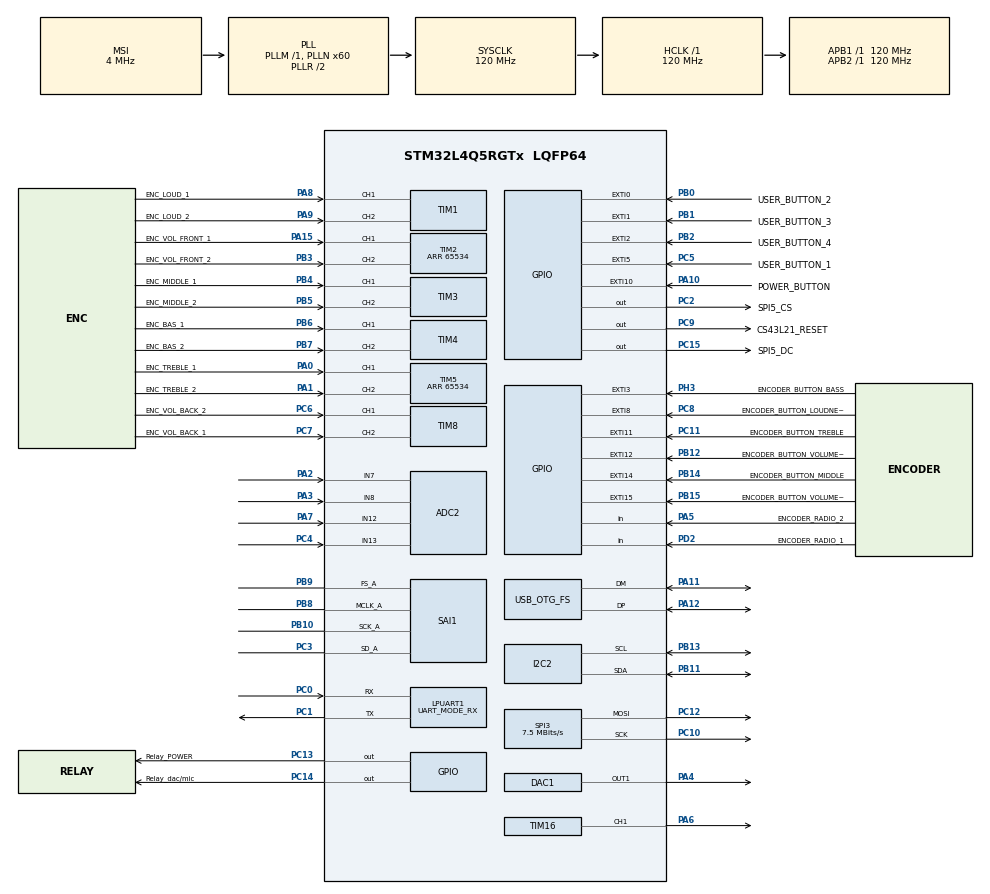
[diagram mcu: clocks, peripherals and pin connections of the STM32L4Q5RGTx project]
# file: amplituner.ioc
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ADC1.Channel-4\#ChannelRegularConversion=ADC_CHANNEL_VBAT
ADC1.NbrOfConversionFlag=1
ADC1.OffsetNumber-4\#ChannelRegularConversion=ADC_OFFSET_NONE
ADC1.Rank-4\#ChannelRegularConversion=1
ADC1.SamplingTime-4\#ChannelRegularConversion=ADC_SAMPLETIME_2CYCLES_5
ADC1.master=1
ADC2.Channel-0\#ChannelRegularConversion=ADC_CHANNEL_7
ADC2.Channel-1\#ChannelRegularConversion=ADC_CHANNEL_8
ADC2.Channel-2\#ChannelRegularConversion=ADC_CHANNEL_12
ADC2.Channel-3\#ChannelRegularConversion=ADC_CHANNEL_13
ADC2.ClockPrescaler=ADC_CLOCK_ASYNC_DIV1
ADC2.DMAContinuousRequests=ENABLE
ADC2.ExternalTrigConv=ADC_EXTERNALTRIG_T6_TRGO
ADC2.NbrOfConversion=4
ADC2.NbrOfConversionFlag=1
ADC2.OffsetNumber-0\#ChannelRegularConversion=ADC_OFFSET_NONE
ADC2.OffsetNumber-1\#ChannelRegularConversion=ADC_OFFSET_NONE
ADC2.OffsetNumber-2\#ChannelRegularConversion=ADC_OFFSET_NONE
ADC2.OffsetNumber-3\#ChannelRegularConversion=ADC_OFFSET_NONE
ADC2.Rank-0\#ChannelRegularConversion=1
ADC2.Rank-1\#ChannelRegularConversion=2
ADC2.Rank-2\#ChannelRegularConversion=3
ADC2.Rank-3\#ChannelRegularConversion=4
ADC2.SamplingTime-0\#ChannelRegularConversion=ADC_SAMPLETIME_12CYCLES_5
ADC2.SamplingTime-1\#ChannelRegularConversion=ADC_SAMPLETIME_12CYCLES_5
ADC2.SamplingTime-2\#ChannelRegularConversion=ADC_SAMPLETIME_12CYCLES_5
ADC2.SamplingTime-3\#ChannelRegularConversion=ADC_SAMPLETIME_12CYCLES_5
Dma.ADC2.0.Direction=DMA_PERIPH_TO_MEMORY
Dma.ADC2.0.EventEnable=DISABLE
Dma.ADC2.0.Instance=DMA1_Channel3
Dma.ADC2.0.MemDataAlignment=DMA_MDATAALIGN_HALFWORD
Dma.ADC2.0.MemInc=DMA_MINC_ENABLE
Dma.ADC2.0.Mode=DMA_CIRCULAR
Dma.ADC2.0.PeriphDataAlignment=DMA_PDATAALIGN_HALFWORD
Dma.ADC2.0.PeriphInc=DMA_PINC_DISABLE
Dma.ADC2.0.Polarity=HAL_DMAMUX_REQ_GEN_RISING
Dma.ADC2.0.Priority=DMA_PRIORITY_LOW
Dma.ADC2.0.RequestNumber=1
Dma.ADC2.0.SignalID=NONE
Dma.ADC2.0.SyncEnable=DISABLE
Dma.ADC2.0.SyncPolarity=HAL_DMAMUX_SYNC_NO_EVENT
Dma.ADC2.0.SyncRequestNumber=1
Dma.ADC2.0.SyncSignalID=NONE
Dma.Request0=ADC2
Dma.Request1=SPI3_TX
Dma.SPI3_TX.1.Direction=DMA_MEMORY_TO_PERIPH
Dma.SPI3_TX.1.EventEnable=DISABLE
Dma.SPI3_TX.1.Instance=DMA1_Channel1
Dma.SPI3_TX.1.MemDataAlignment=DMA_MDATAALIGN_BYTE
Dma.SPI3_TX.1.MemInc=DMA_MINC_ENABLE
Dma.SPI3_TX.1.Mode=DMA_NORMAL
Dma.SPI3_TX.1.PeriphDataAlignment=DMA_PDATAALIGN_BYTE
Dma.SPI3_TX.1.PeriphInc=DMA_PINC_DISABLE
Dma.SPI3_TX.1.Polarity=HAL_DMAMUX_REQ_GEN_RISING
Dma.SPI3_TX.1.Priority=DMA_PRIORITY_LOW
Dma.SPI3_TX.1.RequestNumber=1
Dma.SPI3_TX.1.SignalID=NONE
Dma.SPI3_TX.1.SyncEnable=DISABLE
Dma.SPI3_TX.1.SyncPolarity=HAL_DMAMUX_SYNC_NO_EVENT
Dma.SPI3_TX.1.SyncRequestNumber=1
Dma.SPI3_TX.1.SyncSignalID=NONE
I2C2.Timing=0x307075B1
LPUART1.Mode=UART_MODE_RX
LPUART1.SwapParam=UART_ADVFEATURE_SWAP_ENABLE
Mcu.Family=STM32L4
Mcu.Name=STM32L4Q5RGTx
Mcu.Package=LQFP64
NVIC.ADC1_2_IRQn=true\:1\:0\:true\:true\:true\:6\:true\:true
NVIC.DMA1_Channel1_IRQn=true\:1\:0\:true\:true\:true\:4\:false\:true
NVIC.DMA1_Channel3_IRQn=true\:1\:0\:true\:true\:true\:5\:false\:true
NVIC.EXTI0_IRQn=true\:5\:0\:true\:true\:true\:1\:true\:true
NVIC.EXTI15_10_IRQn=true\:5\:0\:true\:true\:true\:15\:true\:true
NVIC.EXTI1_IRQn=true\:5\:0\:true\:true\:true\:2\:true\:true
NVIC.EXTI2_IRQn=true\:5\:0\:true\:true\:true\:3\:true\:true
NVIC.EXTI9_5_IRQn=true\:5\:0\:true\:true\:true\:7\:true\:true
NVIC.PriorityGroup=NVIC_PRIORITYGROUP_4
NVIC.RTC_Alarm_IRQn=true\:5\:0\:true\:true\:true\:16\:true\:true
NVIC.SPI3_IRQn=true\:1\:0\:true\:true\:true\:19\:true\:true
NVIC.TIM1_BRK_TIM15_IRQn=true\:3\:0\:true\:true\:true\:8\:true\:true
NVIC.TIM1_TRG_COM_TIM17_IRQn=true\:3\:0\:true\:true\:true\:10\:true\:true
NVIC.TIM1_UP_TIM16_IRQn=true\:3\:0\:true\:true\:true\:9\:true\:true
NVIC.TIM2_IRQn=true\:3\:0\:true\:true\:true\:12\:true\:true
NVIC.TIM3_IRQn=true\:3\:0\:true\:true\:true\:13\:true\:true
NVIC.TIM4_IRQn=true\:3\:0\:true\:true\:true\:14\:true\:true
NVIC.TIM5_IRQn=true\:3\:0\:true\:true\:true\:18\:true\:true
NVIC.TIM6_DAC_IRQn=true\:0\:0\:false\:true\:true\:20\:true\:true
NVIC.TIM8_CC_IRQn=true\:3\:0\:true\:true\:true\:17\:true\:true
PA0.GPIO_Label=ENC_TREBLE_1
PA0.Signal=S_TIM5_CH1
PA1.GPIO_Label=ENC_TREBLE_2
PA1.Signal=S_TIM5_CH2
PA10.GPIO_Label=POWER_BUTTON
PA10.Signal=GPXTI10
PA11.Mode=Host_Only
PA11.Signal=USB_OTG_FS_DM
PA12.Mode=Host_Only
PA12.Signal=USB_OTG_FS_DP
PA13\ (JTMS/SWDIO).Mode=Serial_Wire
PA13\ (JTMS/SWDIO).Signal=SYS_JTMS-SWDIO
PA14\ (JTCK/SWCLK).Mode=Serial_Wire
PA14\ (JTCK/SWCLK).Signal=SYS_JTCK-SWCLK
PA15\ (JTDI).GPIO_Label=ENC_VOL_FRONT_1
PA15\ (JTDI).Signal=S_TIM2_CH1
PA2.Signal=ADCx_IN7
PA3.Signal=ADCx_IN8
PA4.Signal=COMP_DAC11_group
PA5.GPIO_Label=ENCODER_RADIO_2
PA5.Signal=GPIO_Input
PA6.Signal=S_TIM16_CH1
PA7.Signal=ADCx_IN12
PA8.GPIO_Label=ENC_LOUD_1
PA8.Signal=S_TIM1_CH1
PA9.GPIO_Label=ENC_LOUD_2
PA9.Signal=S_TIM1_CH2
PB0.GPIO_Label=USER_BUTTON_2
PB0.GPIO_ModeDefaultEXTI=GPIO_MODE_IT_RISING_FALLING
PB0.Signal=GPXTI0
PB1.GPIO_Label=USER_BUTTON_3
PB1.GPIO_ModeDefaultEXTI=GPIO_MODE_IT_RISING_FALLING
PB1.Signal=GPXTI1
PB10.Mode=SAI_A_MasterWithClock
PB10.Signal=SAI1_SCK_A
PB11.Mode=I2C
PB11.Signal=I2C2_SDA
PB12.GPIO_Label=ENCODER_BUTTON_VOLUME_FRONT
PB12.GPIO_ModeDefaultEXTI=GPIO_MODE_IT_FALLING
PB12.GPIO_PuPd=GPIO_PULLUP
PB12.Signal=GPXTI12
PB13.Mode=I2C
PB13.Signal=I2C2_SCL
PB14.GPIO_Label=ENCODER_BUTTON_MIDDLE
PB14.Signal=GPXTI14
PB15.GPIO_Label=ENCODER_BUTTON_VOLUME_BACK
PB15.GPIO_ModeDefaultEXTI=GPIO_MODE_IT_FALLING
PB15.GPIO_PuPd=GPIO_PULLUP
PB15.Signal=GPXTI15
PB2.GPIO_Label=USER_BUTTON_4
PB2.GPIO_ModeDefaultEXTI=GPIO_MODE_IT_RISING_FALLING
PB2.Signal=GPXTI2
PB3\ (JTDO/TRACESWO).GPIO_Label=ENC_VOL_FRONT_2
PB3\ (JTDO/TRACESWO).Signal=S_TIM2_CH2
PB4\ (NJTRST).GPIO_Label=ENC_MIDDLE_1
PB4\ (NJTRST).Signal=S_TIM3_CH1
PB5.GPIO_Label=ENC_MIDDLE_2
PB5.Signal=S_TIM3_CH2
PB6.GPIO_Label=ENC_BAS_1
PB6.Signal=S_TIM4_CH1
PB7.GPIO_Label=ENC_BAS_2
PB7.Signal=S_TIM4_CH2
PB8.Mode=SAI_A_MasterWithClock
PB8.Signal=SAI1_MCLK_A
PB9.Mode=SAI_A_MasterWithClock
PB9.Signal=SAI1_FS_A
PC0.Mode=Asynchronous
PC0.Signal=LPUART1_RX
PC1.Mode=Asynchronous
PC1.Signal=LPUART1_TX
PC10.Mode=TX_Only_Simplex_Unidirect_Master
PC10.Signal=SPI3_SCK
PC11.GPIO_Label=ENCODER_BUTTON_TREBLE
PC11.Signal=GPXTI11
PC12.Mode=TX_Only_Simplex_Unidirect_Master
PC12.Signal=SPI3_MOSI
PC13.GPIO_Label=Relay_POWER
PC13.Signal=GPIO_Output
PC14-OSC32_IN\ (PC14).GPIO_Label=Relay_dac/mic
PC14-OSC32_IN\ (PC14).Signal=GPIO_Output
PC15-OSC32_OUT\ (PC15).GPIO_Label=SPI5_DC
PC15-OSC32_OUT\ (PC15).Signal=GPIO_Output
PC2.GPIO_Label=SPI5_CS
PC2.Signal=GPIO_Output
PC3.Mode=SAI_A_MasterWithClock
PC3.Signal=SAI1_SD_A
PC4.Signal=ADCx_IN13
PC5.GPIO_Label=USER_BUTTON_1
PC5.GPIO_ModeDefaultEXTI=GPIO_MODE_IT_RISING_FALLING
PC5.Signal=GPXTI5
PC6.GPIO_Label=ENC_VOL_BACK_2
PC6.Signal=S_TIM8_CH1
PC7.GPIO_Label=ENC_VOL_BACK_1
PC7.Signal=S_TIM8_CH2
PC8.GPIO_Label=ENCODER_BUTTON_LOUDNESS
PC8.GPIO_ModeDefaultEXTI=GPIO_MODE_IT_FALLING
PC8.GPIO_PuPd=GPIO_PULLUP
PC8.Signal=GPXTI8
PC9.GPIO_Label=CS43L21_RESET
PC9.Signal=GPIO_Output
PD2.GPIO_Label=ENCODER_RADIO_1
PD2.Signal=GPIO_Input
PH0-OSC_IN\ (PH0).Mode=HSE-External-Oscillator
PH0-OSC_IN\ (PH0).Signal=RCC_OSC_IN
PH1-OSC_OUT\ (PH1).Mode=HSE-External-Oscillator
PH1-OSC_OUT\ (PH1).Signal=RCC_OSC_OUT
PH3-BOOT0.GPIO_Label=ENCODER_BUTTON_BASS
PH3-BOOT0.Signal=GPXTI3
ProjectManager.HeapSize=0x2000
ProjectManager.StackSize=0x2000
ProjectManager.TargetToolchain=STM32CubeIDE
RCC.ADCFreq_Value=32000000
RCC.AHBFreq_Value=120000000
RCC.APB1Freq_Value=120000000
RCC.APB1TimFreq_Value=120000000
RCC.APB2Freq_Value=120000000
RCC.APB2TimFreq_Value=120000000
RCC.CK48CLockSelection=RCC_USBCLKSOURCE_HSI48
RCC.CortexFreq_Value=120000000
RCC.HCLKFreq_Value=120000000
RCC.HSE_VALUE=8000000
RCC.HSI48_VALUE=48000000
RCC.HSI_VALUE=16000000
RCC.LSE_VALUE=32768
RCC.MSI_VALUE=4000000
RCC.PLLN=60
RCC.PLLSAI1N=16
RCC.SAI1CLockSelection=RCC_SAI1CLKSOURCE_PLL
RCC.SYSCLKFreq_VALUE=120000000
RCC.SYSCLKSource=RCC_SYSCLKSOURCE_PLLCLK
RCC.USBFreq_Value=48000000
RCC.VCOOutputFreq_Value=240000000
RTC.Alarm-Alarm\ A=RTC_ALARM_A
RTC.Alarm_B-Alarm\ B=RTC_ALARM_B
RTC.Date=20
RTC.Format=RTC_FORMAT_BIN
RTC.Hours=10
RTC.Minutes=20
RTC.Month=RTC_MONTH_DECEMBER
RTC.Seconds=45
RTC.Year=0
SAI1.ErrorAudioFreq-SAI_A_MasterWithClock=-34.89 %
SAI1.Instance-SAI_A_MasterWithClock=SAI$Index_Block_A
SAI1.MClockEnable-SAI_A_MasterWithClock=SAI_MASTERCLOCK_ENABLE
SAI1.RealAudioFreq-SAI_A_MasterWithClock=125.0 KHz
SAI1.VirtualMode-SAI_A_MasterWithClock=VM_MASTER
SH.ADCx_IN12.0=ADC2_IN12,IN12-Single-Ended
SH.ADCx_IN13.0=ADC2_IN13,IN13-Single-Ended
SH.ADCx_IN7.0=ADC2_IN7,IN7-Single-Ended
SH.ADCx_IN8.0=ADC2_IN8,IN8-Single-Ended
SH.COMP_DAC11_group.0=DAC1_OUT1,DAC_OUT1
SH.S_TIM16_CH1.0=TIM16_CH1,PWM Generation1 CH1
SH.S_TIM1_CH1.0=TIM1_CH1,Encoder_Interface
SH.S_TIM1_CH2.0=TIM1_CH2,Encoder_Interface
SH.S_TIM2_CH1.0=TIM2_CH1,Encoder_Interface
SH.S_TIM2_CH2.0=TIM2_CH2,Encoder_Interface
SH.S_TIM3_CH1.0=TIM3_CH1,Encoder_Interface
SH.S_TIM3_CH2.0=TIM3_CH2,Encoder_Interface
SH.S_TIM4_CH1.0=TIM4_CH1,Encoder_Interface
SH.S_TIM4_CH2.0=TIM4_CH2,Encoder_Interface
SH.S_TIM5_CH1.0=TIM5_CH1,Encoder_Interface
SH.S_TIM5_CH2.0=TIM5_CH2,Encoder_Interface
SH.S_TIM8_CH1.0=TIM8_CH1,Encoder_Interface
SH.S_TIM8_CH2.0=TIM8_CH2,Encoder_Interface
SPI3.BaudRatePrescaler=SPI_BAUDRATEPRESCALER_16
SPI3.CalculateBaudRate=7.5 MBits/s
SPI3.DataSize=SPI_DATASIZE_8BIT
SPI3.Direction=SPI_DIRECTION_2LINES
SPI3.Mode=SPI_MODE_MASTER
SPI3.VirtualType=VM_MASTER
TIM15.Channel-Output\ Compare1\ No\ Output=TIM_CHANNEL_1
TIM15.Channel-Output\ Compare2\ No\ Output=TIM_CHANNEL_2
TIM15.ClockDivision=TIM_CLOCKDIVISION_DIV4
TIM15.Prescaler=65535
TIM15.Pulse-Output\ Compare1\ No\ Output=55000
TIM15.Pulse-Output\ Compare2\ No\ Output=5500
TIM16.Channel=TIM_CHANNEL_1
TIM16.Period=999
TIM16.Prescaler=1199
TIM17.Channel=TIM_CHANNEL_1
TIM17.Period=999
TIM17.Prescaler=2999
TIM17.Pulse=2998
TIM2.Period=65534
TIM5.Period=65534
TIM6.Period=1
TIM6.Prescaler=1357
TIM6.TIM_MasterOutputTrigger=TIM_TRGO_UPDATE
USB_OTG_FS.VirtualMode=Host_Only
USB_OTG_FS.phy_itface=HCD_PHY_EMBEDDED
VP_ADC1_Vbat_Input.Mode=IN-Vbat
VP_RNG_VS_RNG.Mode=RNG_Activate
VP_RTC_VS_RTC_Activate.Mode=RTC_Enabled
VP_RTC_VS_RTC_Alarm_A_Intern.Mode=Alarm A
VP_RTC_VS_RTC_Alarm_B_Intern.Mode=Alarm B
VP_RTC_VS_RTC_Calendar.Mode=RTC_Calendar
VP_TIM15_VS_no_output1.Mode=Output Compare1 No Output
VP_TIM15_VS_no_output2.Mode=Output Compare2 No Output
VP_TIM16_VS_ClockSourceINT.Mode=Enable_Timer
VP_TIM17_VS_ClockSourceINT.Mode=Enable_Timer
VP_TIM17_VS_no_output1.Mode=Output Compare1 No Output
VP_TIM6_VS_ClockSourceINT.Mode=Enable_Timer
board=custom

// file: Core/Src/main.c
/* USER CODE BEGIN Header */
/**
 ******************************************************************************
 * @file           : main.c
 * @brief          : Main program body
 ******************************************************************************
 * @attention
 *
 * Copyright (c) 2021 STMicroelectronics.
 * All rights reserved.
 *
 * This software is licensed under terms that can be found in the LICENSE file
 * in the root directory of this software component.
 * If no LICENSE file comes with this software, it is provided AS-IS.
 *
 ******************************************************************************
 */
/* USER CODE END Header */
#include "main.h"
#include "adc.h"
#include "dac.h"
#include "dma.h"
#include "i2c.h"
#include "usart.h"
#include "rng.h"
#include "rtc.h"
#include "sai.h"
#include "spi.h"
#include "tim.h"
#include "usb_otg.h"
#include "gpio.h"

/* USER CODE BEGIN Includes */
#include <stdio.h>
#include "stdio.h"
#include "stdlib.h"
#include "string.h"
#include "float.h"
#include "stdbool.h"
#include "stdint.h"
#include "EEPROM/eeprom.h"
#include "radio/RDA5807m.h"
#include "TDA7719/TDA7719.h"
#include "buttons/buttons.h"
#include "Encoders/encoders.h"
#include <Adc/arm_math.h>
#include <Adc/fft.h>
#include "Adc/UVmeter.h"
#include <Display_OLED/draws_display.h>
#include <Display_OLED/SSD1322_API.h>
#include <Display_OLED/SSD1322_GFX.h>
#include <Display_OLED/SSD1322_HW_Driver.h>
#include <Time/time.h>

/* Includes for czcionki */

#include "Display_OLED/Fonts/custom_chars.h"
#include "Display_OLED/Fonts/FreeMono24pt7b.h"
#include "Display_OLED/Fonts/FreeMono9pt7b.h"
#include "Display_OLED/Fonts/FreeMonoBold24pt7b.h"
#include "Display_OLED/Fonts/FreeMonoBold9pt7b.h"
#include "Display_OLED/Fonts/FreeMonoBoldOblique24pt7b.h"
#include "Display_OLED/Fonts/FreeMonoBoldOblique9pt7b.h"
#include "Display_OLED/Fonts/FreeMonoOblique24pt7b.h"
#include "Display_OLED/Fonts/FreeMonoOblique9pt7b.h" //git
#include "Display_OLED/Fonts/FreeSans24pt7b.h"       //zegar kilka pikseli nizej
#include "Display_OLED/Fonts/FreeSans9pt7b.h"
#include "Display_OLED/Fonts/FreeSansBold24pt7b.h" //zegar kilka pikseli nizej
#include "Display_OLED/Fonts/FreeSansBold9pt7b.h"
#include "Display_OLED/Fonts/FreeSansBoldOblique24pt7.h"
#include "Display_OLED/Fonts/FreeSansBoldOblique9pt7b.h"
#include "Display_OLED/Fonts/FreeSansOblique24pt7b.h"
#include "Display_OLED/Fonts/FreeSansOblique9pt7b.h"
#include "Display_OLED/Fonts/FreeSerif24pt7b.h" //git
#include "Display_OLED/Fonts/FreeSerif9pt7b.h"
#include "Display_OLED/Fonts/FreeSerifBold24pt7b.h"
#include "Display_OLED/Fonts/FreeSerifBold9pt7b.h"
#include "Display_OLED/Fonts/FreeSerifBoldItalic24pt7b.h"
#include "Display_OLED/Fonts/FreeSerifBoldItalic9pt7b.h"
#include "Display_OLED/Fonts/FreeSerifItalic24pt7b.h"
#include "Display_OLED/Fonts/FreeSerifItalic9pt7b.h"
#include "Display_OLED/Fonts/maciek_font.h"
#include "Display_OLED/Fonts/Org_01.h"        // 200hz 2k 20k
#include "Display_OLED/Fonts/Picopixel.h"     // 200hz 2k 200k ale troche gorsze
#include "Display_OLED/Fonts/Tiny3x3a2pt7b.h" //niewyrazne
#include "Display_OLED/Fonts/TomThumb.h"
///#include "creeper.h"
//#include "krecik.h"
//#include "pat_i_mat.h"
//#include "coolface.h"
/* USER CODE END Includes */

/* USER CODE BEGIN PD */
#define BUFF_SIZE_UART_ESP 6
#define ROWS 64
#define COLUMS 256
#define FFT_SAMPLES 2048
#define ADC_NUMBER_OF_CHANNELS 4
#define ADC_NUMBER_OF_MEASUREMENT 32
#define FFT_NUMBER_OF_PRAZKI 10
/* USER CODE END PD */

/* USER CODE BEGIN PM */
#define STRINGIFY(a) #a   //zamiana na string
#define CONCAT(a, b) a##b //łączenie stringów
/* USER CODE END PM */

/* USER CODE BEGIN PV */
volatile uint8_t SPI5_TX_completed_flag = 1;     //flag indicating finish of SPI transmission
volatile uint8_t UART1_RX_completed_flag = 0;    //flag indicating receiving data on UART
volatile uint8_t ADC_Samples_FFT_ready_flag = 0; //flag indicating receiving enough samples for FFT
volatile uint8_t I2C_TX_completed_flag = 1;
volatile uint8_t ADC_IS_ON_flag = 0;
volatile uint8_t ADC_samples_ready = 0;
volatile uint8_t FFT_calc_done = 0;
volatile uint8_t RADIO_IS_ON_front_flag;
volatile uint8_t RADIO_IS_ON_back_flag;
volatile uint8_t POWER_device_state_flag = 0;

extern encoder_t encoderVolFront;
extern encoder_t encoderVolBack;
extern FFT_channel_source_e FFT_channel_source;
extern RTC_typeOfAlarm_t RTC_typeOfAlarm;
extern SettingsUserMenu_t SettingsUserMenu;
extern SSD1322_Screen_t SSD1322_Screen_State;
extern SSD1322_Screen_t SSD1322_Screen_State_Saved;
extern Clock_Data_Change_t Clock_Data_Time;
extern AlarmDataChange_t AlarmDataChange;

_Bool volatile button_debou_state = true;
extern _Bool alarm_set_A_or_B;
extern _Bool IS_ALARM_SET_A;
extern _Bool IS_ALARM_SET_B;
uint16_t gGPIO_Pin;

/* Main buffer for OLED display
 * Each byte hold info for 2 pixels */
uint8_t DisplayOLEDBuffer[COLUMS * ROWS / 2];

/* FFT variables */
uint8_t OutFreqArray[21];
arm_rfft_fast_instance_f32 FFTHandler;
uint16_t ADC_In[FFT_SAMPLES];
float FFTInBuffer[FFT_SAMPLES];
float FFTOutBuffer[FFT_SAMPLES];
volatile uint8_t Samples_ready;

/* Alarms variables */
RTC_TimeTypeDef sTime;
RTC_DateTypeDef sDate;
RTC_AlarmTypeDef Alarm_A;
RTC_AlarmTypeDef Alarm_B;
RTC_AlarmTypeDef Alarm;
extern uint8_t RTC_typeOfAlarm_A;
extern uint8_t RTC_typeOfAlarm_B;

/* ADC variables */
uint16_t ADC_SamplesTEST[4];
uint32_t ADC_SamplesSUM[4];
uint8_t UV_meter_front_back;
uint8_t UV_meter_numb_of_chan = 4;

typedef struct
{
  uint16_t Freq;
  uint16_t RSSI;
  uint16_t Station_saved1;
  uint16_t Station_saved2;
  uint16_t Station_saved3;
  uint16_t volumeMaster;
  //add CRC
} ESP_UART_frame_t;
ESP_UART_frame_t ESP_UART_frame;
/* USER CODE END PV */

void SystemClock_Config(void);
void PeriphCommonClock_Config(void);
static void MX_NVIC_Init(void);
/* USER CODE BEGIN PFP */
void set_init_values(void); //init with declaration (does it work after software restart of MCU?)
void display_init(void);
float calc_pwm(float val);
void change_power_led_brigh(void);

/* USER CODE END PFP */

int main(void)
{

  /* MCU Configuration--------------------------------------------------------*/

  /* Reset of all peripherals, Initializes the Flash interface and the Systick. */
  HAL_Init();

  /* Configure the system clock */
  SystemClock_Config();

/* Configure the peripherals common clocks */
  PeriphCommonClock_Config();

  /* Initialize all configured peripherals */
  MX_GPIO_Init();
  MX_DMA_Init();
  MX_ADC2_Init();
  MX_ADC1_Init();
  MX_DAC1_Init();
  MX_I2C2_Init();
  MX_RTC_Init();
  MX_SPI3_Init();
  MX_TIM2_Init();
  MX_TIM3_Init();
  MX_TIM5_Init();
  MX_TIM6_Init();
  MX_TIM8_Init();
  MX_TIM15_Init();
  MX_TIM16_Init();
  MX_TIM17_Init();
  MX_RNG_Init();
  MX_TIM4_Init();
  MX_LPUART1_UART_Init();
  MX_SAI1_Init();
  MX_USB_OTG_FS_HCD_Init();
  MX_TIM1_Init();

  /* Initialize interrupts */
  MX_NVIC_Init();
  /* USER CODE BEGIN 2 */
  //dodać generowanie sinusoidy z wybieraną HZ
  //zasygnalizować wyłączenie urządzenia
  //przy starcie systemu glośność stopniowo zwiększać
  //możliwość włączania i wyłączania maksymalnie z częstotliwością 0,5s
  //przełączanie przekaźnika z back do słuchawek
  HAL_TIM_OC_Start_IT(&htim15, TIM_CHANNEL_1);
  display_init_on_start(DisplayOLEDBuffer);
  set_init_values();
  encoders_init();
  TDA7719_init();
  RDA5807_Init();
  //RDA5807_PowerOff();
  read_user_settings_on_init();

  HAL_GPIO_WritePin(LD1_GPIO_Port, LD1_Pin, SET);
  arm_rfft_fast_init_f32(&FFTHandler, FFT_SAMPLES);
  HAL_TIM_PWM_Start(&htim16, TIM_CHANNEL_1);
  /* USER CODE END 2 */

  /* Infinite loop */
  while (1)
  {

    /* USER CODE BEGIN 3 */
    change_power_led_brigh();
    check_FFT_flag(); //if fft flag == 0 then do fft, move to ssd1322_sreen_FFT
    Refresh_display(SSD1322_Screen_State);
  }
  /* USER CODE END 3 */
}

void SystemClock_Config(void)
{
  RCC_OscInitTypeDef RCC_OscInitStruct = {0};
  RCC_ClkInitTypeDef RCC_ClkInitStruct = {0};

  /** Configure the main internal regulator output voltage
  */
  if (HAL_PWREx_ControlVoltageScaling(PWR_REGULATOR_VOLTAGE_SCALE1_BOOST) != HAL_OK)
  {
    Error_Handler();
  }
  /** Initializes the RCC Oscillators according to the specified parameters
  * in the RCC_OscInitTypeDef structure.
  */
  RCC_OscInitStruct.OscillatorType = RCC_OSCILLATORTYPE_HSI48|RCC_OSCILLATORTYPE_LSI
                              |RCC_OSCILLATORTYPE_MSI;
  RCC_OscInitStruct.HSI48State = RCC_HSI48_ON;
  RCC_OscInitStruct.LSIState = RCC_LSI_ON;
  RCC_OscInitStruct.MSIState = RCC_MSI_ON;
  RCC_OscInitStruct.MSICalibrationValue = 0;
  RCC_OscInitStruct.MSIClockRange = RCC_MSIRANGE_6;
  RCC_OscInitStruct.PLL.PLLState = RCC_PLL_ON;
  RCC_OscInitStruct.PLL.PLLSource = RCC_PLLSOURCE_MSI;
  RCC_OscInitStruct.PLL.PLLM = 1;
  RCC_OscInitStruct.PLL.PLLN = 60;
  RCC_OscInitStruct.PLL.PLLP = RCC_PLLP_DIV2;
  RCC_OscInitStruct.PLL.PLLQ = RCC_PLLQ_DIV2;
  RCC_OscInitStruct.PLL.PLLR = RCC_PLLR_DIV2;
  if (HAL_RCC_OscConfig(&RCC_OscInitStruct) != HAL_OK)
  {
    Error_Handler();
  }
  /** Initializes the CPU, AHB and APB buses clocks
  */
  RCC_ClkInitStruct.ClockType = RCC_CLOCKTYPE_HCLK|RCC_CLOCKTYPE_SYSCLK
                              |RCC_CLOCKTYPE_PCLK1|RCC_CLOCKTYPE_PCLK2;
  RCC_ClkInitStruct.SYSCLKSource = RCC_SYSCLKSOURCE_PLLCLK;
  RCC_ClkInitStruct.AHBCLKDivider = RCC_SYSCLK_DIV1;
  RCC_ClkInitStruct.APB1CLKDivider = RCC_HCLK_DIV1;
  RCC_ClkInitStruct.APB2CLKDivider = RCC_HCLK_DIV1;

  if (HAL_RCC_ClockConfig(&RCC_ClkInitStruct, FLASH_LATENCY_5) != HAL_OK)
  {
    Error_Handler();
  }
}

void PeriphCommonClock_Config(void)
{
  RCC_PeriphCLKInitTypeDef PeriphClkInit = {0};

  /** Initializes the peripherals clock
  */
  PeriphClkInit.PeriphClockSelection = RCC_PERIPHCLK_ADC;
  PeriphClkInit.AdcClockSelection = RCC_ADCCLKSOURCE_PLLSAI1;
  PeriphClkInit.PLLSAI1.PLLSAI1Source = RCC_PLLSOURCE_MSI;
  PeriphClkInit.PLLSAI1.PLLSAI1M = 1;
  PeriphClkInit.PLLSAI1.PLLSAI1N = 16;
  PeriphClkInit.PLLSAI1.PLLSAI1P = RCC_PLLP_DIV2;
  PeriphClkInit.PLLSAI1.PLLSAI1Q = RCC_PLLQ_DIV2;
  PeriphClkInit.PLLSAI1.PLLSAI1R = RCC_PLLR_DIV2;
  PeriphClkInit.PLLSAI1.PLLSAI1ClockOut = RCC_PLLSAI1_ADC1CLK;
  if (HAL_RCCEx_PeriphCLKConfig(&PeriphClkInit) != HAL_OK)
  {
    Error_Handler();
  }
}

/**
  * @brief NVIC Configuration.
  * @retval None
  */
static void MX_NVIC_Init(void)
{
  /* EXTI0_IRQn interrupt configuration */
  HAL_NVIC_SetPriority(EXTI0_IRQn, 5, 0);
  HAL_NVIC_EnableIRQ(EXTI0_IRQn);
  /* EXTI1_IRQn interrupt configuration */
  HAL_NVIC_SetPriority(EXTI1_IRQn, 5, 0);
  HAL_NVIC_EnableIRQ(EXTI1_IRQn);
  /* EXTI2_IRQn interrupt configuration */
  HAL_NVIC_SetPriority(EXTI2_IRQn, 5, 0);
  HAL_NVIC_EnableIRQ(EXTI2_IRQn);
  /* DMA1_Channel1_IRQn interrupt configuration */
  HAL_NVIC_SetPriority(DMA1_Channel1_IRQn, 1, 0);
  HAL_NVIC_EnableIRQ(DMA1_Channel1_IRQn);
  /* DMA1_Channel3_IRQn interrupt configuration */
  HAL_NVIC_SetPriority(DMA1_Channel3_IRQn, 1, 0);
  HAL_NVIC_EnableIRQ(DMA1_Channel3_IRQn);
  /* ADC1_2_IRQn interrupt configuration */
  HAL_NVIC_SetPriority(ADC1_2_IRQn, 1, 0);
  HAL_NVIC_EnableIRQ(ADC1_2_IRQn);
  /* EXTI9_5_IRQn interrupt configuration */
  HAL_NVIC_SetPriority(EXTI9_5_IRQn, 5, 0);
  HAL_NVIC_EnableIRQ(EXTI9_5_IRQn);
  /* TIM1_BRK_TIM15_IRQn interrupt configuration */
  HAL_NVIC_SetPriority(TIM1_BRK_TIM15_IRQn, 3, 0);
  HAL_NVIC_EnableIRQ(TIM1_BRK_TIM15_IRQn);
  /* TIM1_UP_TIM16_IRQn interrupt configuration */
  HAL_NVIC_SetPriority(TIM1_UP_TIM16_IRQn, 3, 0);
  HAL_NVIC_EnableIRQ(TIM1_UP_TIM16_IRQn);
  /* TIM1_TRG_COM_TIM17_IRQn interrupt configuration */
  HAL_NVIC_SetPriority(TIM1_TRG_COM_TIM17_IRQn, 3, 0);
  HAL_NVIC_EnableIRQ(TIM1_TRG_COM_TIM17_IRQn);
  /* TIM2_IRQn interrupt configuration */
  HAL_NVIC_SetPriority(TIM2_IRQn, 3, 0);
  HAL_NVIC_EnableIRQ(TIM2_IRQn);
  /* TIM3_IRQn interrupt configuration */
  HAL_NVIC_SetPriority(TIM3_IRQn, 3, 0);
  HAL_NVIC_EnableIRQ(TIM3_IRQn);
  /* TIM4_IRQn interrupt configuration */
  HAL_NVIC_SetPriority(TIM4_IRQn, 3, 0);
  HAL_NVIC_EnableIRQ(TIM4_IRQn);
  /* EXTI15_10_IRQn interrupt configuration */
  HAL_NVIC_SetPriority(EXTI15_10_IRQn, 5, 0);
  HAL_NVIC_EnableIRQ(EXTI15_10_IRQn);
  /* RTC_Alarm_IRQn interrupt configuration */
  HAL_NVIC_SetPriority(RTC_Alarm_IRQn, 5, 0);
  HAL_NVIC_EnableIRQ(RTC_Alarm_IRQn);
  /* TIM8_CC_IRQn interrupt configuration */
  HAL_NVIC_SetPriority(TIM8_CC_IRQn, 3, 0);
  HAL_NVIC_EnableIRQ(TIM8_CC_IRQn);
  /* TIM5_IRQn interrupt configuration */
  HAL_NVIC_SetPriority(TIM5_IRQn, 3, 0);
  HAL_NVIC_EnableIRQ(TIM5_IRQn);
  /* SPI3_IRQn interrupt configuration */
  HAL_NVIC_SetPriority(SPI3_IRQn, 1, 0);
  HAL_NVIC_EnableIRQ(SPI3_IRQn);
  /* TIM6_DAC_IRQn interrupt configuration */
  HAL_NVIC_SetPriority(TIM6_DAC_IRQn, 0, 0);
  HAL_NVIC_EnableIRQ(TIM6_DAC_IRQn);
}

/* USER CODE BEGIN 4 */

/* Timer output compare callback
 * Is used for:
 * - TIM15 - if set, changing screen state back to saved screen
 * - TIM16 - PWM timer for power LED
 * - TIM17 - Used for debouncing all buttons
 */
void HAL_TIM_OC_DelayElapsedCallback(TIM_HandleTypeDef *htim)
{
  /* Interupt callback after timer counts 3 secs.
	 * Timer is started when any encoder is moved
	 * Refresh display timer or change display mode timer
	 */
  if (htim->Instance == TIM15)
  {

    /* Check if interupt is from change display */
    if (htim->ChannelState[0] == HAL_TIM_CHANNEL_STATE_BUSY)
    {
      change_display_state(htim);
    }

    /* Check if interupt is from return to last saved display state */
    if (htim->ChannelState[1] == HAL_TIM_CHANNEL_STATE_BUSY)
    {
      set_saved_display(htim);
    }
  }

  /* Routine after getting a interupt from GPIO ports */
  if (htim->Instance == TIM17) //timer 17 is used only for debouncing
  {
    any_buttons_pressed_routine();
  }
}

/* Time input capture callback
 * Is called whenever any encoder change it's position (expect for radio encoder)
 */
void HAL_TIM_IC_CaptureCallback(TIM_HandleTypeDef *htim)
{
  display_on_standby_mode();
  check_volumes_ranges();

  /* Volume front encoder */
  if (htim->Instance == TIM2)
  {
    volume_front_encoder_used();
  }
  /* Volume back encoder */
  if (htim->Instance == TIM8)
  {
    volume_back_encoder_used();
  }
  /* Loundness encoder */
  if (htim->Instance == TIM1)
  {
    loudness_encoder_used();
  }

  /* Bass encoder */
  if (htim->Instance == TIM4)
  {
    bass_encoder_used();
  }

  /* Middle encoder */
  if (htim->Instance == TIM3)
  {
    middle_encoder_used();
  }

  /* Treble encoder */
  if (htim->Instance == TIM5)
  {
    treble_encoder_used();
  }

  /* Radio  encoder */
  //if(htim->Instance == TIM1)
  {
    //radio_encoder_used();
  }
}

// Constains operations needed to calculate FFT and UVmeter - it's using ADC1 perph
// ADC2 is used for monitoring battery voltage while disconnected from main power source
void HAL_ADC_ConvCpltCallback(ADC_HandleTypeDef *hadc)
{
  if (hadc->Instance == ADC2)
  {
    if (SSD1322_Screen_State == SSD1322_SCREEN_UVMETER)
    {
      calc_UVmeter_scale();
    }
    else if (SSD1322_Screen_State == SSD1322_SCREEN_FFT)
    {
      calc_FFT_scale();
    }
  }

  //adc1 is used for vbat monitoring after power is set off
  if (hadc->Instance == ADC1)
  {
  }
}

// Set init values to specified variables
// temporary function used while prototyping
void set_init_values(void)
{
  SSD1322_Screen_State = SSD1322_SCREEN_TIME;
  AlarmDataChange = 1;
  Clock_Data_Time = 1;
  RTC_typeOfAlarm = 1;
  Alarm.AlarmDateWeekDay = 1;
  encoderVolFront.audioOutputState = MASTER;
  encoderVolBack.audioOutputState = NORMAL;
  encoderVolFront.volumeMaster = 79;
  encoderVolFront.volumeLeftRight = 79;
  encoderVolFront.volumeLeft = 79;
  encoderVolFront.volumeRight = 79;
  encoderVolBack.volumeLeftRight = 79;
  encoderVolBack.volumeLeft = 79;
  encoderVolBack.volumeRight = 79;
  encoderFilterLoudness.gain = 15;
  encoderFilterLoudness.buttonControl = SET_GAIN;
  encoderFilterTreble.gain = 10;
  encoderFilterTreble.buttonControl = SET_GAIN;
  encoderFilterMiddle.gain = 10;
  encoderFilterMiddle.buttonControl = SET_GAIN;
  TDA7719_config.set_input_front = JACK_1;
  TDA7719_config.set_input_back = JACK_2;
  savedUserSettings.displayRefreshTime = 100;
  RADIO_IS_ON_front_flag = false;
  RADIO_IS_ON_back_flag = false;
  SettingsUserMenu.AlarmSource_A = JACK_1;
  SettingsUserMenu.AlarmSource_B = RADIO;
  SettingsUserMenu.RefreshScreenTime = 65535;
  SettingsUserMenu.Power_LED = 5;
  SettingsUserMenu.Display_mode = 1;
}

// change linear scale to more eye-friendly
float calc_pwm(float val)
{
  const float k = 0.1f;
  const float x0 = 60.0f;
  return 300.0f / (1.0f + exp(-k * (val - x0)));
}

// change power led brightness according to settings
void change_power_led_brigh(void)
{
  static uint32_t led_counter;
  //static uint32_t timer_counter;
  static float r;

  //add timer from SysTick

  switch (SettingsUserMenu.Power_LED)
  {
  case POWER_OFF:
    //if(power_button_state == OFF)
    {
      //			float r = 50 * (1.0f + sin(led_counter / 100.0f));
      //			__HAL_TIM_SET_COMPARE(&htim16, TIM_CHANNEL_1, calc_pwm(r));
      //			led_counter++;
    }
    break;
  case POWER_ON:
    //if(power_button_state == OFF)
    {
      //			float r = 50 * (1.0f + sin(led_counter / 100.0f));
      //			__HAL_TIM_SET_COMPARE(&htim16, TIM_CHANNEL_1, calc_pwm(r));
      //			led_counter++;
    }
    break;
  case Always_OFF:
    __HAL_TIM_SET_COMPARE(&htim16, TIM_CHANNEL_1, 0);
    break;

  case Always_ON:
    __HAL_TIM_SET_COMPARE(&htim16, TIM_CHANNEL_1, 255);
    break;

  case Change_brigh:
    r = 50 * (1.0f + sin(led_counter / 100.0f));
    __HAL_TIM_SET_COMPARE(&htim16, TIM_CHANNEL_1, calc_pwm(r));
    led_counter++;

    break;
  //może case gdzie użytkownik podaje parametr określający jasność
  default:
    break;
  }
}

/* USER CODE END 4 */

void Error_Handler(void)
{
  /* USER CODE BEGIN Error_Handler_Debug */
  /* User can add his own implementation to report the HAL error return state */
  __disable_irq();
  __NOP();
  //__bswap16();
  __NVIC_SystemReset();
  while (1)
  {
  }
  /* USER CODE END Error_Handler_Debug */
}
